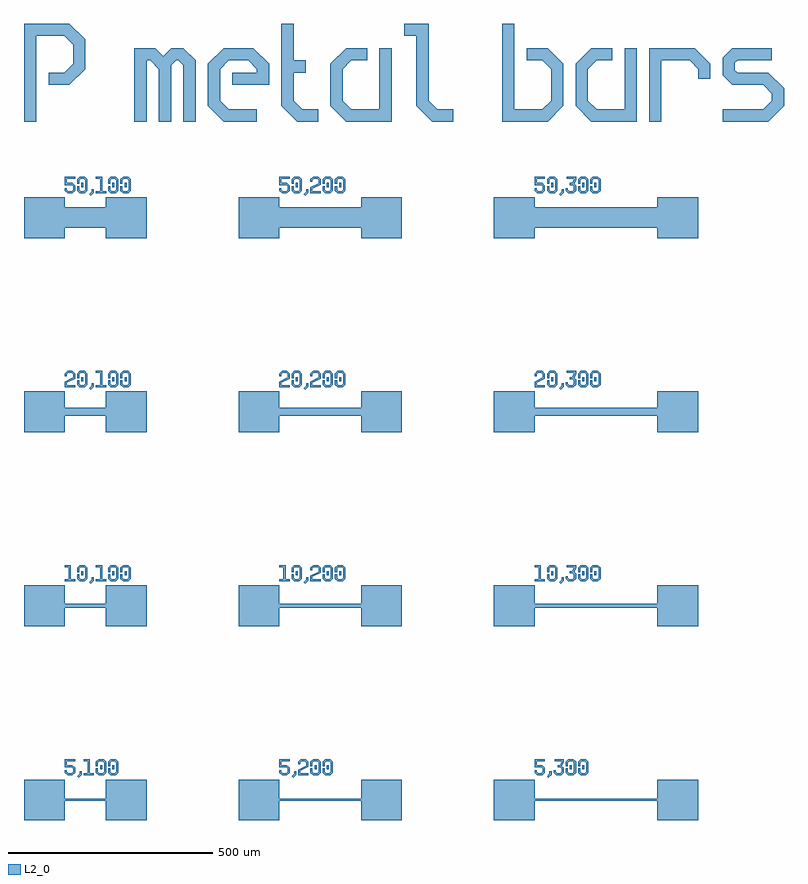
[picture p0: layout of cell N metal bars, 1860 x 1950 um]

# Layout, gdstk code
import gdstk
lib = gdstk.Library(unit=1e-6, precision=1e-09)
def R(c, l, rs):  # rectangles x0, y0, x1, y1
    for r in rs: c.add(gdstk.rectangle(r[:2], r[2:], *l))
def A(c, l, x, y, w, h, nx, ny, dx, dy):  # array of equal rectangles
    R(c, l, [(x+i*dx, y+j*dy, x+i*dx+w, y+j*dy+h) for i in range(nx) for j in range(ny)])
def P(c, l, *ps):  # polygons
    for p in ps: c.add(gdstk.Polygon(p, *l))
L2_0 = (2, 0)

metal_pad = lib.new_cell('Metal pad')
R(metal_pad, L2_0, [(0,-50,100,50)])

clumn_of_bars = lib.new_cell('Clumn of bars')
A(clumn_of_bars, L2_0, 116.036, 75, 5, 10, 1, 4, 0, 475)
A(clumn_of_bars, L2_0, 40, 550, 5, 10, 1, 3, 0, 475)
A(clumn_of_bars, L2_0, 146.036, 550, 5, 10, 1, 3, 0, 475)
R(clumn_of_bars, L2_0, [(0,-2.5,100,2.5), (86.036,75,91.036,85), (0,470,100,480), (0,940,100,960), (0,1400,100,1450)])
P(clumn_of_bars, L2_0, [(6.464,1485),(0,1491.464),(0,1497.5),(5,1497.5),(5,1493.536),(8.536,1490),(16.464,1490),(20,1493.536),(20,1501.464),(16.464,1505),(0,1505),(0,1525),(25,1525),(25,1520),(5,1520),(5,1510),(18.536,1510),(25,1503.536),(25,1491.464),(18.536,1485)],
  [(36.464,1485),(30,1491.464),(30,1502.5),(35,1502.5),(35,1493.536),(38.536,1490),(46.464,1490),(50,1493.536),(50,1516.464),(46.464,1520),(38.536,1520),(35,1516.464),(35,1507.5),(30,1507.5),(30,1518.536),(36.464,1525),(48.536,1525),(55,1518.536),(55,1491.464),(48.536,1485)],
  [(63.536,1478.964),(60,1482.5),(66.036,1488.536),(66.036,1495),(71.036,1495),(71.036,1486.464)],
  [(76.036,1485),(76.036,1490),(86.036,1490),(86.036,1520),(76.036,1520),(76.036,1525),(91.036,1525),(91.036,1490),(101.036,1490),(101.036,1485)],
  [(112.5,1485),(106.036,1491.464),(106.036,1502.5),(111.036,1502.5),(111.036,1493.536),(114.572,1490),(122.5,1490),(126.036,1493.536),(126.036,1516.464),(122.5,1520),(114.572,1520),(111.036,1516.464),(111.036,1507.5),(106.036,1507.5),(106.036,1518.536),(112.5,1525),(124.572,1525),(131.036,1518.536),(131.036,1491.464),(124.572,1485)],
  [(142.5,1485),(136.036,1491.464),(136.036,1502.5),(141.036,1502.5),(141.036,1493.536),(144.572,1490),(152.5,1490),(156.036,1493.536),(156.036,1516.464),(152.5,1520),(144.572,1520),(141.036,1516.464),(141.036,1507.5),(136.036,1507.5),(136.036,1518.536),(142.5,1525),(154.572,1525),(161.036,1518.536),(161.036,1491.464),(154.572,1485)],
  [(0,1010),(0,1024.045),(20,1034.045),(20,1041.464),(16.464,1045),(8.536,1045),(5,1041.464),(5,1037.5),(0,1037.5),(0,1043.536),(6.464,1050),(18.536,1050),(25,1043.536),(25,1030.955),(5,1020.955),(5,1015),(25,1015),(25,1010)],
  [(36.464,1010),(30,1016.464),(30,1027.5),(35,1027.5),(35,1018.536),(38.536,1015),(46.464,1015),(50,1018.536),(50,1041.464),(46.464,1045),(38.536,1045),(35,1041.464),(35,1032.5),(30,1032.5),(30,1043.536),(36.464,1050),(48.536,1050),(55,1043.536),(55,1016.464),(48.536,1010)],
  [(63.536,1003.964),(60,1007.5),(66.036,1013.536),(66.036,1020),(71.036,1020),(71.036,1011.464)],
  [(76.036,1010),(76.036,1015),(86.036,1015),(86.036,1045),(76.036,1045),(76.036,1050),(91.036,1050),(91.036,1015),(101.036,1015),(101.036,1010)],
  [(112.5,1010),(106.036,1016.464),(106.036,1027.5),(111.036,1027.5),(111.036,1018.536),(114.572,1015),(122.5,1015),(126.036,1018.536),(126.036,1041.464),(122.5,1045),(114.572,1045),(111.036,1041.464),(111.036,1032.5),(106.036,1032.5),(106.036,1043.536),(112.5,1050),(124.572,1050),(131.036,1043.536),(131.036,1016.464),(124.572,1010)],
  [(142.5,1010),(136.036,1016.464),(136.036,1027.5),(141.036,1027.5),(141.036,1018.536),(144.572,1015),(152.5,1015),(156.036,1018.536),(156.036,1041.464),(152.5,1045),(144.572,1045),(141.036,1041.464),(141.036,1032.5),(136.036,1032.5),(136.036,1043.536),(142.5,1050),(154.572,1050),(161.036,1043.536),(161.036,1016.464),(154.572,1010)],
  [(0,535),(0,540),(10,540),(10,570),(0,570),(0,575),(15,575),(15,540),(25,540),(25,535)],
  [(36.464,535),(30,541.464),(30,552.5),(35,552.5),(35,543.536),(38.536,540),(46.464,540),(50,543.536),(50,566.464),(46.464,570),(38.536,570),(35,566.464),(35,557.5),(30,557.5),(30,568.536),(36.464,575),(48.536,575),(55,568.536),(55,541.464),(48.536,535)],
  [(63.536,528.964),(60,532.5),(66.036,538.536),(66.036,545),(71.036,545),(71.036,536.464)],
  [(76.036,535),(76.036,540),(86.036,540),(86.036,570),(76.036,570),(76.036,575),(91.036,575),(91.036,540),(101.036,540),(101.036,535)],
  [(112.5,535),(106.036,541.464),(106.036,552.5),(111.036,552.5),(111.036,543.536),(114.572,540),(122.5,540),(126.036,543.536),(126.036,566.464),(122.5,570),(114.572,570),(111.036,566.464),(111.036,557.5),(106.036,557.5),(106.036,568.536),(112.5,575),(124.572,575),(131.036,568.536),(131.036,541.464),(124.572,535)],
  [(142.5,535),(136.036,541.464),(136.036,552.5),(141.036,552.5),(141.036,543.536),(144.572,540),(152.5,540),(156.036,543.536),(156.036,566.464),(152.5,570),(144.572,570),(141.036,566.464),(141.036,557.5),(136.036,557.5),(136.036,568.536),(142.5,575),(154.572,575),(161.036,568.536),(161.036,541.464),(154.572,535)],
  [(6.464,60),(0,66.464),(0,72.5),(5,72.5),(5,68.536),(8.536,65),(16.464,65),(20,68.536),(20,76.464),(16.464,80),(0,80),(0,100),(25,100),(25,95),(5,95),(5,85),(18.536,85),(25,78.536),(25,66.464),(18.536,60)],
  [(33.536,53.964),(30,57.5),(36.036,63.536),(36.036,70),(41.036,70),(41.036,61.464)],
  [(46.036,60),(46.036,65),(56.036,65),(56.036,95),(46.036,95),(46.036,100),(61.036,100),(61.036,65),(71.036,65),(71.036,60)],
  [(82.5,60),(76.036,66.464),(76.036,77.5),(81.036,77.5),(81.036,68.536),(84.572,65),(92.5,65),(96.036,68.536),(96.036,91.464),(92.5,95),(84.572,95),(81.036,91.464),(81.036,82.5),(76.036,82.5),(76.036,93.536),(82.5,100),(94.572,100),(101.036,93.536),(101.036,66.464),(94.572,60)],
  [(112.5,60),(106.036,66.464),(106.036,77.5),(111.036,77.5),(111.036,68.536),(114.572,65),(122.5,65),(126.036,68.536),(126.036,91.464),(122.5,95),(114.572,95),(111.036,91.464),(111.036,82.5),(106.036,82.5),(106.036,93.536),(112.5,100),(124.572,100),(131.036,93.536),(131.036,66.464),(124.572,60)])
clumn_of_bars.add(gdstk.Reference(metal_pad, (-100,0)))
clumn_of_bars.add(gdstk.Reference(metal_pad, (100,0)))
clumn_of_bars.add(gdstk.Reference(metal_pad, (-100,475)))
clumn_of_bars.add(gdstk.Reference(metal_pad, (100,475)))
clumn_of_bars.add(gdstk.Reference(metal_pad, (-100,950)))
clumn_of_bars.add(gdstk.Reference(metal_pad, (100,950)))
clumn_of_bars.add(gdstk.Reference(metal_pad, (-100,1425)))
clumn_of_bars.add(gdstk.Reference(metal_pad, (100,1425)))

test_cell = lib.new_cell('test cell')
test_cell.add(gdstk.Reference(clumn_of_bars, (0,0)))

metal_pad_3012 = lib.new_cell('Metal pad_3012')
R(metal_pad_3012, L2_0, [(0,-50,100,50)])

clumn_of_bars_3014 = lib.new_cell('Clumn of bars_3014')
A(clumn_of_bars_3014, L2_0, 116.036, 75, 5, 10, 1, 4, 0, 475)
A(clumn_of_bars_3014, L2_0, 40, 550, 5, 10, 1, 3, 0, 475)
A(clumn_of_bars_3014, L2_0, 146.036, 550, 5, 10, 1, 3, 0, 475)
R(clumn_of_bars_3014, L2_0, [(0,-2.5,200,2.5), (86.036,75,91.036,85), (0,470,200,480), (0,940,200,960), (0,1400,200,1450)])
P(clumn_of_bars_3014, L2_0, [(6.464,1485),(0,1491.464),(0,1497.5),(5,1497.5),(5,1493.536),(8.536,1490),(16.464,1490),(20,1493.536),(20,1501.464),(16.464,1505),(0,1505),(0,1525),(25,1525),(25,1520),(5,1520),(5,1510),(18.536,1510),(25,1503.536),(25,1491.464),(18.536,1485)],
  [(36.464,1485),(30,1491.464),(30,1502.5),(35,1502.5),(35,1493.536),(38.536,1490),(46.464,1490),(50,1493.536),(50,1516.464),(46.464,1520),(38.536,1520),(35,1516.464),(35,1507.5),(30,1507.5),(30,1518.536),(36.464,1525),(48.536,1525),(55,1518.536),(55,1491.464),(48.536,1485)],
  [(63.536,1478.964),(60,1482.5),(66.036,1488.536),(66.036,1495),(71.036,1495),(71.036,1486.464)],
  [(76.036,1485),(76.036,1499.045),(96.036,1509.045),(96.036,1516.464),(92.5,1520),(84.572,1520),(81.036,1516.464),(81.036,1512.5),(76.036,1512.5),(76.036,1518.536),(82.5,1525),(94.572,1525),(101.036,1518.536),(101.036,1505.955),(81.036,1495.955),(81.036,1490),(101.036,1490),(101.036,1485)],
  [(112.5,1485),(106.036,1491.464),(106.036,1502.5),(111.036,1502.5),(111.036,1493.536),(114.572,1490),(122.5,1490),(126.036,1493.536),(126.036,1516.464),(122.5,1520),(114.572,1520),(111.036,1516.464),(111.036,1507.5),(106.036,1507.5),(106.036,1518.536),(112.5,1525),(124.572,1525),(131.036,1518.536),(131.036,1491.464),(124.572,1485)],
  [(142.5,1485),(136.036,1491.464),(136.036,1502.5),(141.036,1502.5),(141.036,1493.536),(144.572,1490),(152.5,1490),(156.036,1493.536),(156.036,1516.464),(152.5,1520),(144.572,1520),(141.036,1516.464),(141.036,1507.5),(136.036,1507.5),(136.036,1518.536),(142.5,1525),(154.572,1525),(161.036,1518.536),(161.036,1491.464),(154.572,1485)],
  [(0,1010),(0,1024.045),(20,1034.045),(20,1041.464),(16.464,1045),(8.536,1045),(5,1041.464),(5,1037.5),(0,1037.5),(0,1043.536),(6.464,1050),(18.536,1050),(25,1043.536),(25,1030.955),(5,1020.955),(5,1015),(25,1015),(25,1010)],
  [(36.464,1010),(30,1016.464),(30,1027.5),(35,1027.5),(35,1018.536),(38.536,1015),(46.464,1015),(50,1018.536),(50,1041.464),(46.464,1045),(38.536,1045),(35,1041.464),(35,1032.5),(30,1032.5),(30,1043.536),(36.464,1050),(48.536,1050),(55,1043.536),(55,1016.464),(48.536,1010)],
  [(63.536,1003.964),(60,1007.5),(66.036,1013.536),(66.036,1020),(71.036,1020),(71.036,1011.464)],
  [(76.036,1010),(76.036,1024.045),(96.036,1034.045),(96.036,1041.464),(92.5,1045),(84.572,1045),(81.036,1041.464),(81.036,1037.5),(76.036,1037.5),(76.036,1043.536),(82.5,1050),(94.572,1050),(101.036,1043.536),(101.036,1030.955),(81.036,1020.955),(81.036,1015),(101.036,1015),(101.036,1010)],
  [(112.5,1010),(106.036,1016.464),(106.036,1027.5),(111.036,1027.5),(111.036,1018.536),(114.572,1015),(122.5,1015),(126.036,1018.536),(126.036,1041.464),(122.5,1045),(114.572,1045),(111.036,1041.464),(111.036,1032.5),(106.036,1032.5),(106.036,1043.536),(112.5,1050),(124.572,1050),(131.036,1043.536),(131.036,1016.464),(124.572,1010)],
  [(142.5,1010),(136.036,1016.464),(136.036,1027.5),(141.036,1027.5),(141.036,1018.536),(144.572,1015),(152.5,1015),(156.036,1018.536),(156.036,1041.464),(152.5,1045),(144.572,1045),(141.036,1041.464),(141.036,1032.5),(136.036,1032.5),(136.036,1043.536),(142.5,1050),(154.572,1050),(161.036,1043.536),(161.036,1016.464),(154.572,1010)],
  [(0,535),(0,540),(10,540),(10,570),(0,570),(0,575),(15,575),(15,540),(25,540),(25,535)],
  [(36.464,535),(30,541.464),(30,552.5),(35,552.5),(35,543.536),(38.536,540),(46.464,540),(50,543.536),(50,566.464),(46.464,570),(38.536,570),(35,566.464),(35,557.5),(30,557.5),(30,568.536),(36.464,575),(48.536,575),(55,568.536),(55,541.464),(48.536,535)],
  [(63.536,528.964),(60,532.5),(66.036,538.536),(66.036,545),(71.036,545),(71.036,536.464)],
  [(76.036,535),(76.036,549.045),(96.036,559.045),(96.036,566.464),(92.5,570),(84.572,570),(81.036,566.464),(81.036,562.5),(76.036,562.5),(76.036,568.536),(82.5,575),(94.572,575),(101.036,568.536),(101.036,555.955),(81.036,545.955),(81.036,540),(101.036,540),(101.036,535)],
  [(112.5,535),(106.036,541.464),(106.036,552.5),(111.036,552.5),(111.036,543.536),(114.572,540),(122.5,540),(126.036,543.536),(126.036,566.464),(122.5,570),(114.572,570),(111.036,566.464),(111.036,557.5),(106.036,557.5),(106.036,568.536),(112.5,575),(124.572,575),(131.036,568.536),(131.036,541.464),(124.572,535)],
  [(142.5,535),(136.036,541.464),(136.036,552.5),(141.036,552.5),(141.036,543.536),(144.572,540),(152.5,540),(156.036,543.536),(156.036,566.464),(152.5,570),(144.572,570),(141.036,566.464),(141.036,557.5),(136.036,557.5),(136.036,568.536),(142.5,575),(154.572,575),(161.036,568.536),(161.036,541.464),(154.572,535)],
  [(6.464,60),(0,66.464),(0,72.5),(5,72.5),(5,68.536),(8.536,65),(16.464,65),(20,68.536),(20,76.464),(16.464,80),(0,80),(0,100),(25,100),(25,95),(5,95),(5,85),(18.536,85),(25,78.536),(25,66.464),(18.536,60)],
  [(33.536,53.964),(30,57.5),(36.036,63.536),(36.036,70),(41.036,70),(41.036,61.464)],
  [(46.036,60),(46.036,74.045),(66.036,84.045),(66.036,91.464),(62.5,95),(54.572,95),(51.036,91.464),(51.036,87.5),(46.036,87.5),(46.036,93.536),(52.5,100),(64.572,100),(71.036,93.536),(71.036,80.955),(51.036,70.955),(51.036,65),(71.036,65),(71.036,60)],
  [(82.5,60),(76.036,66.464),(76.036,77.5),(81.036,77.5),(81.036,68.536),(84.572,65),(92.5,65),(96.036,68.536),(96.036,91.464),(92.5,95),(84.572,95),(81.036,91.464),(81.036,82.5),(76.036,82.5),(76.036,93.536),(82.5,100),(94.572,100),(101.036,93.536),(101.036,66.464),(94.572,60)],
  [(112.5,60),(106.036,66.464),(106.036,77.5),(111.036,77.5),(111.036,68.536),(114.572,65),(122.5,65),(126.036,68.536),(126.036,91.464),(122.5,95),(114.572,95),(111.036,91.464),(111.036,82.5),(106.036,82.5),(106.036,93.536),(112.5,100),(124.572,100),(131.036,93.536),(131.036,66.464),(124.572,60)])
clumn_of_bars_3014.add(gdstk.Reference(metal_pad_3012, (-100,0)))
clumn_of_bars_3014.add(gdstk.Reference(metal_pad_3012, (200,0)))
clumn_of_bars_3014.add(gdstk.Reference(metal_pad_3012, (-100,475)))
clumn_of_bars_3014.add(gdstk.Reference(metal_pad_3012, (200,475)))
clumn_of_bars_3014.add(gdstk.Reference(metal_pad_3012, (-100,950)))
clumn_of_bars_3014.add(gdstk.Reference(metal_pad_3012, (200,950)))
clumn_of_bars_3014.add(gdstk.Reference(metal_pad_3012, (-100,1425)))
clumn_of_bars_3014.add(gdstk.Reference(metal_pad_3012, (200,1425)))

test_cell_3011 = lib.new_cell('test cell_3011')
test_cell_3011.add(gdstk.Reference(clumn_of_bars_3014, (0,0)))

metal_pad_3024 = lib.new_cell('Metal pad_3024')
R(metal_pad_3024, L2_0, [(0,-50,100,50)])

clumn_of_bars_3026 = lib.new_cell('Clumn of bars_3026')
A(clumn_of_bars_3026, L2_0, 116.036, 75, 5, 10, 1, 4, 0, 475)
A(clumn_of_bars_3026, L2_0, 40, 550, 5, 10, 1, 3, 0, 475)
A(clumn_of_bars_3026, L2_0, 146.036, 550, 5, 10, 1, 3, 0, 475)
R(clumn_of_bars_3026, L2_0, [(0,-2.5,300,2.5), (86.036,75,91.036,85), (0,470,300,480), (0,940,300,960), (0,1400,300,1450)])
P(clumn_of_bars_3026, L2_0, [(6.464,1485),(0,1491.464),(0,1497.5),(5,1497.5),(5,1493.536),(8.536,1490),(16.464,1490),(20,1493.536),(20,1501.464),(16.464,1505),(0,1505),(0,1525),(25,1525),(25,1520),(5,1520),(5,1510),(18.536,1510),(25,1503.536),(25,1491.464),(18.536,1485)],
  [(36.464,1485),(30,1491.464),(30,1502.5),(35,1502.5),(35,1493.536),(38.536,1490),(46.464,1490),(50,1493.536),(50,1516.464),(46.464,1520),(38.536,1520),(35,1516.464),(35,1507.5),(30,1507.5),(30,1518.536),(36.464,1525),(48.536,1525),(55,1518.536),(55,1491.464),(48.536,1485)],
  [(63.536,1478.964),(60,1482.5),(66.036,1488.536),(66.036,1495),(71.036,1495),(71.036,1486.464)],
  [(82.5,1485),(76.036,1491.464),(76.036,1497.5),(81.036,1497.5),(81.036,1493.536),(84.572,1490),(92.5,1490),(96.036,1493.536),(96.036,1501.464),(92.5,1505),(86.036,1505),(86.036,1510),(91.991,1510),(96.036,1518.09),(96.036,1520),(78.536,1520),(78.536,1525),(101.036,1525),(101.036,1516.91),(96.578,1507.994),(101.036,1503.536),(101.036,1491.464),(94.572,1485)],
  [(112.5,1485),(106.036,1491.464),(106.036,1502.5),(111.036,1502.5),(111.036,1493.536),(114.572,1490),(122.5,1490),(126.036,1493.536),(126.036,1516.464),(122.5,1520),(114.572,1520),(111.036,1516.464),(111.036,1507.5),(106.036,1507.5),(106.036,1518.536),(112.5,1525),(124.572,1525),(131.036,1518.536),(131.036,1491.464),(124.572,1485)],
  [(142.5,1485),(136.036,1491.464),(136.036,1502.5),(141.036,1502.5),(141.036,1493.536),(144.572,1490),(152.5,1490),(156.036,1493.536),(156.036,1516.464),(152.5,1520),(144.572,1520),(141.036,1516.464),(141.036,1507.5),(136.036,1507.5),(136.036,1518.536),(142.5,1525),(154.572,1525),(161.036,1518.536),(161.036,1491.464),(154.572,1485)],
  [(0,1010),(0,1024.045),(20,1034.045),(20,1041.464),(16.464,1045),(8.536,1045),(5,1041.464),(5,1037.5),(0,1037.5),(0,1043.536),(6.464,1050),(18.536,1050),(25,1043.536),(25,1030.955),(5,1020.955),(5,1015),(25,1015),(25,1010)],
  [(36.464,1010),(30,1016.464),(30,1027.5),(35,1027.5),(35,1018.536),(38.536,1015),(46.464,1015),(50,1018.536),(50,1041.464),(46.464,1045),(38.536,1045),(35,1041.464),(35,1032.5),(30,1032.5),(30,1043.536),(36.464,1050),(48.536,1050),(55,1043.536),(55,1016.464),(48.536,1010)],
  [(63.536,1003.964),(60,1007.5),(66.036,1013.536),(66.036,1020),(71.036,1020),(71.036,1011.464)],
  [(82.5,1010),(76.036,1016.464),(76.036,1022.5),(81.036,1022.5),(81.036,1018.536),(84.572,1015),(92.5,1015),(96.036,1018.536),(96.036,1026.464),(92.5,1030),(86.036,1030),(86.036,1035),(91.991,1035),(96.036,1043.09),(96.036,1045),(78.536,1045),(78.536,1050),(101.036,1050),(101.036,1041.91),(96.578,1032.994),(101.036,1028.536),(101.036,1016.464),(94.572,1010)],
  [(112.5,1010),(106.036,1016.464),(106.036,1027.5),(111.036,1027.5),(111.036,1018.536),(114.572,1015),(122.5,1015),(126.036,1018.536),(126.036,1041.464),(122.5,1045),(114.572,1045),(111.036,1041.464),(111.036,1032.5),(106.036,1032.5),(106.036,1043.536),(112.5,1050),(124.572,1050),(131.036,1043.536),(131.036,1016.464),(124.572,1010)],
  [(142.5,1010),(136.036,1016.464),(136.036,1027.5),(141.036,1027.5),(141.036,1018.536),(144.572,1015),(152.5,1015),(156.036,1018.536),(156.036,1041.464),(152.5,1045),(144.572,1045),(141.036,1041.464),(141.036,1032.5),(136.036,1032.5),(136.036,1043.536),(142.5,1050),(154.572,1050),(161.036,1043.536),(161.036,1016.464),(154.572,1010)],
  [(0,535),(0,540),(10,540),(10,570),(0,570),(0,575),(15,575),(15,540),(25,540),(25,535)],
  [(36.464,535),(30,541.464),(30,552.5),(35,552.5),(35,543.536),(38.536,540),(46.464,540),(50,543.536),(50,566.464),(46.464,570),(38.536,570),(35,566.464),(35,557.5),(30,557.5),(30,568.536),(36.464,575),(48.536,575),(55,568.536),(55,541.464),(48.536,535)],
  [(63.536,528.964),(60,532.5),(66.036,538.536),(66.036,545),(71.036,545),(71.036,536.464)],
  [(82.5,535),(76.036,541.464),(76.036,547.5),(81.036,547.5),(81.036,543.536),(84.572,540),(92.5,540),(96.036,543.536),(96.036,551.464),(92.5,555),(86.036,555),(86.036,560),(91.991,560),(96.036,568.09),(96.036,570),(78.536,570),(78.536,575),(101.036,575),(101.036,566.91),(96.578,557.994),(101.036,553.536),(101.036,541.464),(94.572,535)],
  [(112.5,535),(106.036,541.464),(106.036,552.5),(111.036,552.5),(111.036,543.536),(114.572,540),(122.5,540),(126.036,543.536),(126.036,566.464),(122.5,570),(114.572,570),(111.036,566.464),(111.036,557.5),(106.036,557.5),(106.036,568.536),(112.5,575),(124.572,575),(131.036,568.536),(131.036,541.464),(124.572,535)],
  [(142.5,535),(136.036,541.464),(136.036,552.5),(141.036,552.5),(141.036,543.536),(144.572,540),(152.5,540),(156.036,543.536),(156.036,566.464),(152.5,570),(144.572,570),(141.036,566.464),(141.036,557.5),(136.036,557.5),(136.036,568.536),(142.5,575),(154.572,575),(161.036,568.536),(161.036,541.464),(154.572,535)],
  [(6.464,60),(0,66.464),(0,72.5),(5,72.5),(5,68.536),(8.536,65),(16.464,65),(20,68.536),(20,76.464),(16.464,80),(0,80),(0,100),(25,100),(25,95),(5,95),(5,85),(18.536,85),(25,78.536),(25,66.464),(18.536,60)],
  [(33.536,53.964),(30,57.5),(36.036,63.536),(36.036,70),(41.036,70),(41.036,61.464)],
  [(52.5,60),(46.036,66.464),(46.036,72.5),(51.036,72.5),(51.036,68.536),(54.572,65),(62.5,65),(66.036,68.536),(66.036,76.464),(62.5,80),(56.036,80),(56.036,85),(61.991,85),(66.036,93.09),(66.036,95),(48.536,95),(48.536,100),(71.036,100),(71.036,91.91),(66.578,82.994),(71.036,78.536),(71.036,66.464),(64.572,60)],
  [(82.5,60),(76.036,66.464),(76.036,77.5),(81.036,77.5),(81.036,68.536),(84.572,65),(92.5,65),(96.036,68.536),(96.036,91.464),(92.5,95),(84.572,95),(81.036,91.464),(81.036,82.5),(76.036,82.5),(76.036,93.536),(82.5,100),(94.572,100),(101.036,93.536),(101.036,66.464),(94.572,60)],
  [(112.5,60),(106.036,66.464),(106.036,77.5),(111.036,77.5),(111.036,68.536),(114.572,65),(122.5,65),(126.036,68.536),(126.036,91.464),(122.5,95),(114.572,95),(111.036,91.464),(111.036,82.5),(106.036,82.5),(106.036,93.536),(112.5,100),(124.572,100),(131.036,93.536),(131.036,66.464),(124.572,60)])
clumn_of_bars_3026.add(gdstk.Reference(metal_pad_3024, (-100,0)))
clumn_of_bars_3026.add(gdstk.Reference(metal_pad_3024, (300,0)))
clumn_of_bars_3026.add(gdstk.Reference(metal_pad_3024, (-100,475)))
clumn_of_bars_3026.add(gdstk.Reference(metal_pad_3024, (300,475)))
clumn_of_bars_3026.add(gdstk.Reference(metal_pad_3024, (-100,950)))
clumn_of_bars_3026.add(gdstk.Reference(metal_pad_3024, (300,950)))
clumn_of_bars_3026.add(gdstk.Reference(metal_pad_3024, (-100,1425)))
clumn_of_bars_3026.add(gdstk.Reference(metal_pad_3024, (300,1425)))

test_cell_3023 = lib.new_cell('test cell_3023')
test_cell_3023.add(gdstk.Reference(clumn_of_bars_3026, (0,0)))

matrix_of_bars = lib.new_cell('Matrix of bars')
matrix_of_bars.add(gdstk.Reference(test_cell, (100,0)))
matrix_of_bars.add(gdstk.Reference(test_cell_3011, (625,0)))
matrix_of_bars.add(gdstk.Reference(test_cell_3023, (1250,0)))

n_metal_bars = lib.new_cell('N metal bars')
P(n_metal_bars, L2_0, [(0,1660),(0,1900),(111.216,1900),(150,1861.216),(150,1788.784),(111.216,1750),(60,1750),(60,1780),(98.784,1780),(120,1801.216),(120,1848.784),(98.784,1870),(30,1870),(30,1660)],
  [(270,1660),(270,1840),(321.216,1840),(340.5,1820.716),(359.784,1840),(390.216,1840),(420,1810.216),(420,1660),(390,1660),(390,1797.784),(377.784,1810),(372.216,1810),(360,1797.784),(360,1660),(330,1660),(330,1788.784),(308.784,1810),(300,1810),(300,1660)],
  [(488.784,1660),(450,1698.784),(450,1801.216),(488.784,1840),(561.216,1840),(600,1801.216),(600,1750),(510,1750),(510,1780),(570,1780),(570,1788.784),(548.784,1810),(501.216,1810),(480,1788.784),(480,1711.216),(501.216,1690),(570,1690),(570,1660)],
  [(668.784,1660),(630,1698.784),(630,1900),(660,1900),(660,1810),(690,1810),(690,1780),(660,1780),(660,1711.216),(681.216,1690),(720,1690),(720,1660)],
  [(788.784,1660),(750,1698.784),(750,1801.216),(788.784,1840),(840,1840),(840,1810),(801.216,1810),(780,1788.784),(780,1711.216),(801.216,1690),(870,1690),(870,1840),(900,1840),(900,1660)],
  [(998.784,1660),(960,1698.784),(960,1870),(930,1870),(930,1900),(990,1900),(990,1711.216),(1011.216,1690),(1050,1690),(1050,1660)],
  [(1170,1660),(1170,1900),(1200,1900),(1200,1690),(1268.784,1690),(1290,1711.216),(1290,1788.784),(1268.784,1810),(1230,1810),(1230,1840),(1281.216,1840),(1320,1801.216),(1320,1698.784),(1281.216,1660)],
  [(1388.784,1660),(1350,1698.784),(1350,1801.216),(1388.784,1840),(1440,1840),(1440,1810),(1401.216,1810),(1380,1788.784),(1380,1711.216),(1401.216,1690),(1470,1690),(1470,1840),(1500,1840),(1500,1660)],
  [(1530,1660),(1530,1840),(1641.216,1840),(1680,1801.216),(1680,1765),(1650,1765),(1650,1788.784),(1628.784,1810),(1560,1810),(1560,1660)],
  [(1710,1660),(1710,1690),(1808.784,1690),(1830,1711.216),(1830,1728.784),(1808.784,1750),(1733.784,1750),(1710,1773.784),(1710,1816.216),(1733.784,1840),(1830,1840),(1830,1810),(1746.216,1810),(1740,1803.784),(1740,1786.216),(1746.216,1780),(1821.216,1780),(1860,1741.216),(1860,1698.784),(1821.216,1660)])
n_metal_bars.add(gdstk.Reference(matrix_of_bars, (0,0)))

lib.write_gds('N_metal_bars.gds')
